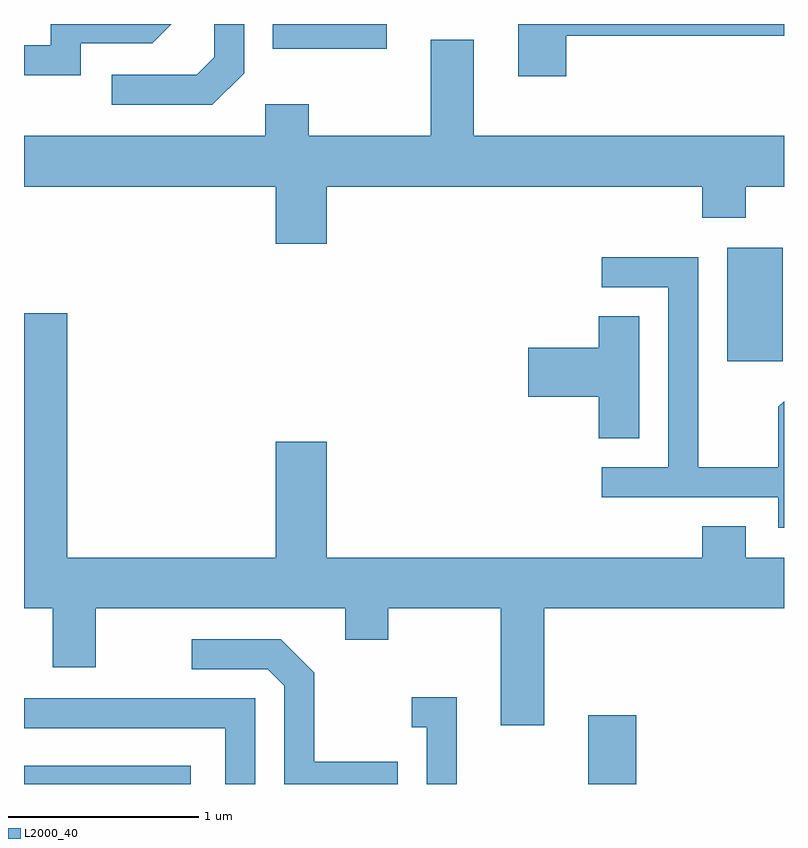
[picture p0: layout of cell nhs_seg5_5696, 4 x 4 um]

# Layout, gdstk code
import gdstk
lib = gdstk.Library(unit=1e-6, precision=1e-09)
def R(c, l, rs):  # rectangles x0, y0, x1, y1
    for r in rs: c.add(gdstk.rectangle(r[:2], r[2:], *l))
def P(c, l, *ps):  # polygons
    for p in ps: c.add(gdstk.Polygon(p, *l))
L2000_40 = (2000, 40)

nhs_seg5_5696 = lib.new_cell('nhs_seg5_5696')
R(nhs_seg5_5696, L2000_40, [(353.611,1478.072,354.489,1478.169), (356.581,1478.072,356.834,1478.434), (357.311,1480.296,357.604,1480.894), (354.921,1481.941,355.519,1482.072)])
P(nhs_seg5_5696, L2000_40, [(354.769,1481.814),(354.769,1482.072),(354.611,1482.072),(354.611,1481.897),(354.519,1481.804),(354.073,1481.804),(354.073,1481.646),(354.602,1481.646)],
  [(353.909,1481.971),(354.287,1481.971),(354.387,1482.072),(353.751,1482.072),(353.751,1481.959),(353.611,1481.959),(353.611,1481.801),(353.909,1481.801)],
  [(356.464,1482.011),(357.611,1482.011),(357.611,1482.072),(356.211,1482.072),(356.211,1481.796),(356.464,1481.796)],
  [(355.204,1481.216),(357.181,1481.216),(357.181,1481.051),(357.409,1481.051),(357.409,1481.216),(357.611,1481.216),(357.611,1481.484),(355.979,1481.484),(355.979,1481.989),(355.751,1481.989),(355.751,1481.484),(355.109,1481.484),(355.109,1481.649),(354.881,1481.649),(354.881,1481.484),(353.611,1481.484),(353.611,1481.216),(354.936,1481.216),(354.936,1480.916),(355.204,1480.916)],
  [(357.611,1480.087),(357.581,1480.057),(357.581,1479.739),(357.159,1479.739),(357.159,1480.844),(356.653,1480.844),(356.653,1480.686),(357.001,1480.686),(357.001,1479.739),(356.653,1479.739),(356.653,1479.581),(357.581,1479.581),(357.581,1479.421),(357.611,1479.421)],
  [(356.349,1478.996),(357.611,1478.996),(357.611,1479.264),(357.409,1479.264),(357.409,1479.429),(357.181,1479.429),(357.181,1479.264),(355.204,1479.264),(355.204,1479.874),(354.936,1479.874),(354.936,1479.264),(353.839,1479.264),(353.839,1480.549),(353.611,1480.549),(353.611,1478.996),(353.761,1478.996),(353.761,1478.686),(353.989,1478.686),(353.989,1478.996),(355.301,1478.996),(355.301,1478.831),(355.529,1478.831),(355.529,1478.996),(356.121,1478.996),(356.121,1478.381),(356.349,1478.381)],
  [(356.849,1480.534),(356.636,1480.534),(356.636,1480.369),(356.266,1480.369),(356.266,1480.111),(356.636,1480.111),(356.636,1479.891),(356.849,1479.891)],
  [(355.579,1478.189),(355.139,1478.189),(355.139,1478.657),(354.962,1478.834),(354.493,1478.834),(354.493,1478.676),(354.894,1478.676),(354.981,1478.589),(354.981,1478.072),(355.579,1478.072)],
  [(355.889,1478.529),(355.653,1478.529),(355.653,1478.371),(355.731,1478.371),(355.731,1478.072),(355.889,1478.072)],
  [(354.829,1478.524),(353.611,1478.524),(353.611,1478.366),(354.671,1478.366),(354.671,1478.072),(354.829,1478.072)])

lib.write_gds('nhs_seg5_5696.gds')
